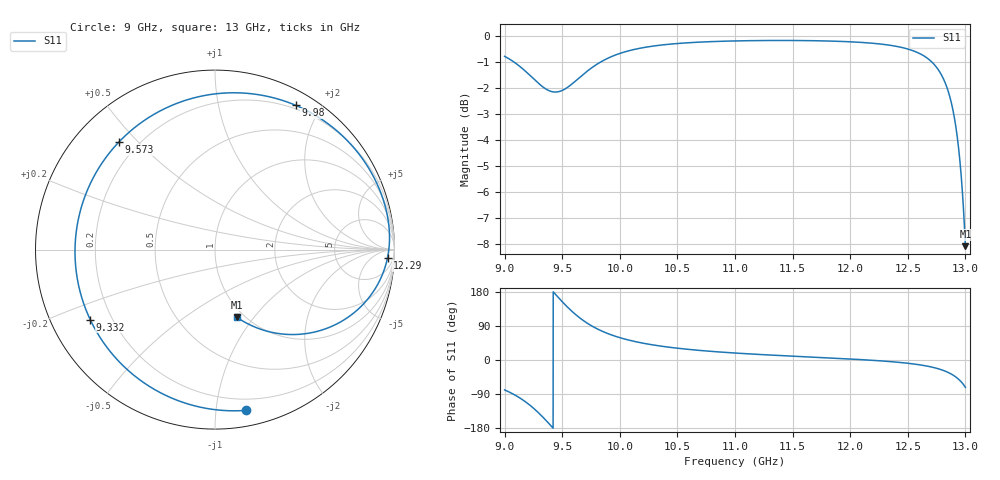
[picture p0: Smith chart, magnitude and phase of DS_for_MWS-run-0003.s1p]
! TOUCHSTONE file generated by CST DESIGN STUDIO
! Date and time: Tue Feb  4 16:08:38 2025
! Project name: C:\Work\MatlabApps\UnitCellOptimizationMatlab\CST\unitcell.cst
! Tree item: Tasks\Sweep1\SPara1\S-Parameters
! Header version: 2024
! Port assignment regex: !\s*Touchstone port\s*([0-9]+)\s*=\s*(CST MWS port|CST DES external port|CST DES block port)\s*(.+)\s* \(\"(.*)\"\)(\s*mode\s*([0-9]+))?.*
! Touchstone port assignment:
! Touchstone port 1 = CST DES external port 1 ("")
# GHz S MA R 50
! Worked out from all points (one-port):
!   4001 points, 9 GHz to 13 GHz, reference 50 ohm
!   lowest |S11| = -8.1 dB at 13 GHz (marker M1), VSWR 2.30, Z = 46.1 - j41.1 ohm
!   |S11| at or under -10 dB: nowhere
!   S11 on the Smith chart (normalised r, x): 9 GHz: 0.11, -1.21; 9.332 GHz: 0.12, -0.26; 9.573 GHz: 0.13, +0.44; 9.98 GHz: 0.16, +1.69; 12.29 GHz: 21, -25; 13 GHz: 0.92, -0.82
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9  0.9126 -78.9
9.1  0.8838 -94.2
9.182  0.8541 -110.5
9.257  0.8242 -128.9
9.332  0.7973 -150.7
9.375  0.7862 -164.5
9.416  0.7804 -178.2
9.457  0.7799 168.0
9.5  0.7849 153.9
9.573  0.8038 131.7
9.651  0.8312 111.4
9.737  0.8614 93.4
9.856  0.8956 74.8
9.98  0.921 60.8
10  0.9243 59.0
10.216  0.9493 43.5
10.5  0.9657 31.1
11  0.9768 18.4
11.5  0.9787 10.1
12  0.973 2.6
12.285  0.9622 -2.7
12.5  0.9425 -8.6
12.685  0.8995 -17.2
12.811  0.8248 -27.8
12.872  0.7527 -36.2
12.926  0.6478 -46.9
12.96  0.5505 -56.4
13  0.3947 -72.3
